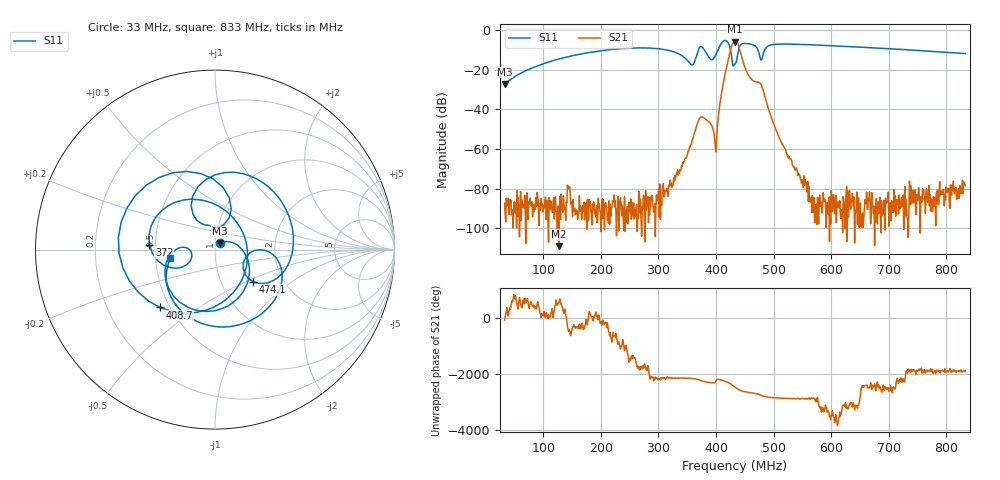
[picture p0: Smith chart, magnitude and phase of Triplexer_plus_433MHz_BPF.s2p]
# HZ S RI R 50
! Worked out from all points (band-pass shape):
!   808 points, 33 MHz to 833 MHz, reference 50 ohm
!   highest |S21| = -5.88 dB at 433.5 MHz (marker M1); lowest = -109.0 dB at 127.2 MHz (marker M2)
!   |S21| within 3 dB of the highest: 426.2 MHz to 440.3 MHz (14.16 MHz wide, 3.27 % of centre)
!   lowest |S11| = -27.2 dB at 33 MHz (marker M3), VSWR 1.09, Z = 52.6 + j3.66 ohm
!   |S11| at or under -10 dB: start of sweep to 213.3 MHz; 313.2 MHz to 369.6 MHz (56.48 MHz wide, 16.5 % of centre); 733.2 MHz to end of sweep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
!   S12 and S22 are empty: the file has one direction only
!   S11 on the Smith chart (normalised r, x): 33 MHz: 1.05, +0.07; 372 MHz: 0.46, +0.03; 408.7 MHz: 0.44, -0.36; 474.1 MHz: 1.42, -0.55; 833 MHz: 0.60, -0.06
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3.3e7  0.0263 0.0347  1.91e-05 -3.86e-05  0 0  0 0
1.27176e8  0.1791 -0.0483  -3.23e-06 -1.51e-06  0 0  0 0
1.66829e8  0.1855 -0.1683  1.66e-05 3.53e-06  0 0  0 0
2.996667e8  -0.2535 -0.2229  7.46e-05 -1.95e-06  0 0  0 0
3.254412e8  -0.2735 -0.0832  0.000109 4.76e-05  0 0  0 0
3.581549e8  -0.1312 -0.0185  0.00151 0.000467  0 0  0 0
3.720335e8  -0.3655 0.0265  0.00396 -0.00456  0 0  0 0
3.829381e8  -0.0278 0.2636  -0.00201 -0.00512  0 0  0 0
3.987993e8  0.1512 -0.1655  -0.000639 -0.000905  0 0  0 0
4.087126e8  -0.3065 -0.3224  0.0169 -0.0132  0 0  0 0
4.146605e8  -0.5382 0.0663  0.0138 -0.0624  0 0  0 0
4.206085e8  -0.2337 0.4282  -0.1026 -0.1241  0 0  0 0
4.275477e8  0.0776 0.1741  -0.3547 0.2207  0 0  0 0
4.334957e8  -0.0408 0.1362  0.2553 0.4395  0 0  0 0
4.37461e8  -0.1223 0.1955  0.4619 0.0413  0 0  0 0
4.43409e8  0.0529 0.429  0.1131 -0.2181  0 0  0 0
4.572875e8  0.4284 0.1295  -0.0379 -0.0579  0 0  0 0
4.741401e8  0.2126 -0.179  -0.0472 0.0107  0 0  0 0
5.217237e8  0.1974 -0.3955  0.000754 0.000346  0 0  0 0
5.663334e8  -0.0421 -0.4206  1.56e-05 1.96e-05  0 0  0 0
7.001624e8  -0.2661 -0.2068  1.89e-06 -1.12e-05  0 0  0 0
8.330001e8  -0.2493 -0.0484  5.32e-05 -0.000107  0 0  0 0
